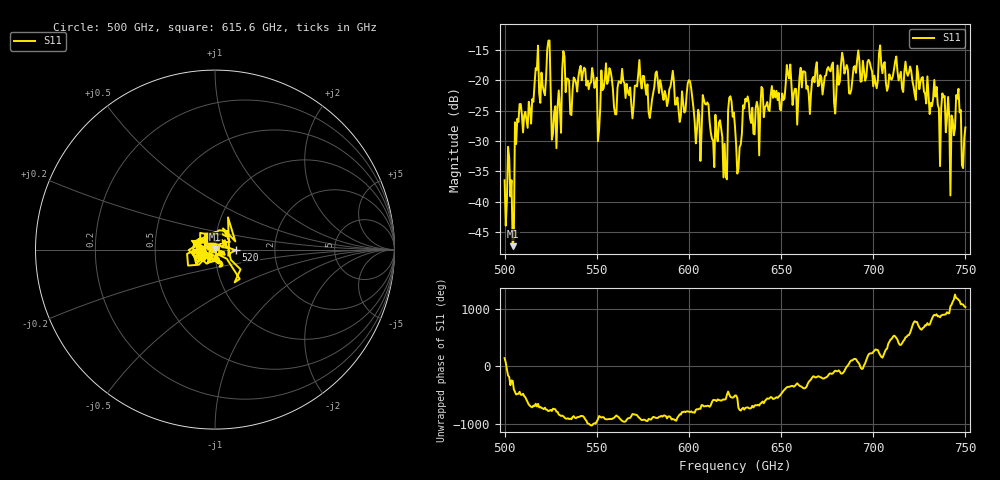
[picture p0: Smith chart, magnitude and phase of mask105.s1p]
!Created with skrf (http://scikit-rf.org).
# GHz S MA R 50.0
!freq magS11 angS11
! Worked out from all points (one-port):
!   401 points, 500 GHz to 750 GHz, reference 50 ohm
!   lowest |S11| = -47.3 dB at 504.4 GHz (marker M1), VSWR 1.01, Z = 49.9 + j0.41 ohm
!   |S11| at or under -10 dB: start of sweep to end of sweep
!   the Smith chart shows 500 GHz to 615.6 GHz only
!   S11 on the Smith chart (normalised r, x): 500 GHz: 0.98, +0.02; 520 GHz: 1.26, -0.01; 615.6 GHz: 0.95, +0.03
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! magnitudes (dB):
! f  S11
! 500 GHz  -36.5
! 504.4 GHz  -47.3
! 508.1 GHz  -23.9
! 520 GHz  -18.7
! 523.8 GHz  -13.4
! 526.9 GHz  -25.4
! 531.2 GHz  -18.2
! 548.8 GHz  -21.2
! 550.6 GHz  -30.0
! 562.5 GHz  -20.3
! 593.8 GHz  -22.8
! 600 GHz  -20.0
! 605 GHz  -24.8
! 608.8 GHz  -23.9
! 612.5 GHz  -29.6
! 615.6 GHz  -30.0
! 619.4 GHz  -30.5
! 622.5 GHz  -22.6
! 625 GHz  -27.7
! 627.5 GHz  -31.0
! 630.6 GHz  -23.0
! 634.4 GHz  -24.5
! 656.2 GHz  -24.1
! 687.5 GHz  -22.2
! 718.8 GHz  -19.2
! 743.1 GHz  -26.5
! 746.2 GHz  -21.4
! 750 GHz  -27.8
